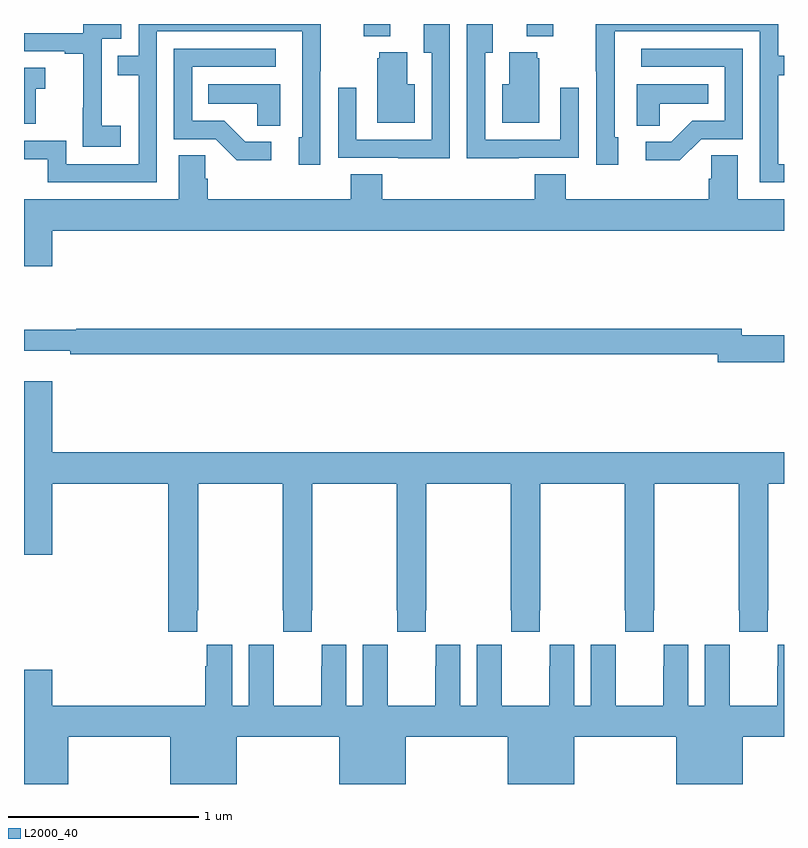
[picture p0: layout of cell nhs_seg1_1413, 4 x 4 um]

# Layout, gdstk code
import gdstk
lib = gdstk.Library(unit=1e-6, precision=1e-09)
def R(c, l, rs):  # rectangles x0, y0, x1, y1
    for r in rs: c.add(gdstk.rectangle(r[:2], r[2:], *l))
def P(c, l, *ps):  # polygons
    for p in ps: c.add(gdstk.Polygon(p, *l))
L2000_40 = (2000, 40)

nhs_seg1_1413 = lib.new_cell('nhs_seg1_1413')
R(nhs_seg1_1413, L2000_40, [(190.787,506.135,190.927,506.199), (191.645,506.135,191.785,506.199)])
P(nhs_seg1_1413, L2000_40, [(191.603,505.494),(191.919,505.494),(191.919,505.864),(191.823,505.864),(191.823,505.59),(191.427,505.59),(191.427,506.047),(191.467,506.047),(191.467,506.199),(191.331,506.199),(191.331,505.493),(191.603,505.493)],
  [(189.508,505.663),(189.41,505.663),(189.41,505.892),(189.408,505.892),(189.408,506.121),(189.513,506.121),(189.513,506.199),(189.312,506.199),(189.312,506.151),(189,506.151),(189,506.055),(189.215,506.055),(189.215,506.043),(189.311,506.043),(189.311,505.759),(189.31,505.759),(189.31,505.553),(189.508,505.553)],
  [(191.241,506.199),(191.105,506.199),(191.105,506.047),(191.145,506.047),(191.145,505.59),(190.749,505.59),(190.749,505.864),(190.653,505.864),(190.653,505.494),(190.969,505.494),(190.969,505.493),(191.241,505.493)],
  [(189.699,506.16),(190.464,506.16),(190.464,505.602),(190.445,505.602),(190.445,505.458),(190.56,505.458),(190.56,505.951),(190.563,505.951),(190.563,506.199),(189.603,506.199),(189.603,506.031),(189.493,506.031),(189.493,505.93),(189.603,505.93),(189.603,505.461),(189.222,505.461),(189.222,505.584),(189,505.584),(189,505.488),(189.125,505.488),(189.125,505.365),(189.699,505.365)],
  [(193,505.461),(192.969,505.461),(192.969,505.93),(193,505.93),(193,506.031),(192.969,506.031),(192.969,506.199),(192.01,506.199),(192.01,505.951),(192.012,505.951),(192.012,505.458),(192.127,505.458),(192.127,505.602),(192.108,505.602),(192.108,506.16),(192.873,506.16),(192.873,505.365),(193,505.365)],
  [(192.564,505.593),(192.783,505.593),(192.783,506.07),(192.249,506.07),(192.249,505.974),(192.687,505.974),(192.687,505.689),(192.518,505.689),(192.407,505.578),(192.273,505.578),(192.273,505.481),(192.451,505.481)],
  [(190.3,505.578),(190.165,505.578),(190.054,505.689),(189.885,505.689),(189.885,505.974),(190.324,505.974),(190.324,506.07),(189.789,506.07),(189.789,505.593),(190.008,505.593),(190.121,505.481),(190.3,505.481)],
  [(191.713,506.019),(191.702,506.019),(191.702,506.05),(191.555,506.05),(191.555,505.882),(191.516,505.882),(191.516,505.679),(191.713,505.679)],
  [(191.056,505.882),(191.017,505.882),(191.017,506.05),(190.871,506.05),(190.871,506.019),(190.859,506.019),(190.859,505.679),(191.056,505.679)],
  [(189.063,505.859),(189.112,505.859),(189.112,505.969),(189,505.969),(189,505.674),(189.063,505.674)],
  [(190.348,505.882),(189.97,505.882),(189.97,505.778),(190.227,505.778),(190.227,505.663),(190.348,505.663)],
  [(192.345,505.778),(192.602,505.778),(192.602,505.882),(192.224,505.882),(192.224,505.663),(192.345,505.663)],
  [(189.148,505.112),(193,505.112),(193,505.276),(192.757,505.276),(192.757,505.508),(192.618,505.508),(192.618,505.385),(192.605,505.385),(192.605,505.276),(191.852,505.276),(191.852,505.409),(191.687,505.409),(191.687,505.276),(190.886,505.276),(190.886,505.409),(190.721,505.409),(190.721,505.276),(189.968,505.276),(189.968,505.385),(189.954,505.385),(189.954,505.508),(189.815,505.508),(189.815,505.276),(189,505.276),(189,504.924),(189.148,504.924)],
  [(193,504.56),(192.778,504.56),(192.778,504.596),(189.274,504.596),(189.274,504.589),(189,504.589),(189,504.479),(189.244,504.479),(189.244,504.46),(192.65,504.46),(192.65,504.418),(193,504.418)],
  [(189.911,503.113),(189.918,503.113),(189.918,503.78),(190.363,503.78),(190.363,503.113),(190.365,503.113),(190.365,503.001),(190.515,503.001),(190.515,503.113),(190.518,503.113),(190.518,503.78),(190.963,503.78),(190.963,503.113),(190.965,503.113),(190.965,503.001),(191.115,503.001),(191.115,503.113),(191.118,503.113),(191.118,503.78),(191.563,503.78),(191.563,503.113),(191.565,503.113),(191.565,503.001),(191.715,503.001),(191.715,503.113),(191.718,503.113),(191.718,503.78),(192.163,503.78),(192.163,503.113),(192.165,503.113),(192.165,503.001),(192.315,503.001),(192.315,503.113),(192.318,503.113),(192.318,503.78),(192.763,503.78),(192.763,503.113),(192.765,503.113),(192.765,503.001),(192.915,503.001),(192.915,503.113),(192.918,503.113),(192.918,503.78),(193,503.78),(193,503.944),(189.148,503.944),(189.148,504.319),(189,504.319),(189,503.406),(189.148,503.406),(189.148,503.78),(189.758,503.78),(189.758,503.001),(189.911,503.001)],
  [(189.232,502.448),(189.77,502.448),(189.77,502.199),(190.12,502.199),(190.12,502.448),(190.658,502.448),(190.658,502.199),(191.008,502.199),(191.008,502.448),(191.546,502.448),(191.546,502.199),(191.896,502.199),(191.896,502.448),(192.434,502.448),(192.434,502.199),(192.784,502.199),(192.784,502.448),(193,502.448),(193,502.933),(192.966,502.933),(192.966,502.82),(192.965,502.82),(192.965,502.612),(192.715,502.612),(192.715,502.82),(192.714,502.82),(192.714,502.933),(192.584,502.933),(192.584,502.612),(192.496,502.612),(192.496,502.933),(192.366,502.933),(192.366,502.82),(192.365,502.82),(192.365,502.612),(192.115,502.612),(192.115,502.82),(192.114,502.82),(192.114,502.933),(191.984,502.933),(191.984,502.612),(191.896,502.612),(191.896,502.933),(191.766,502.933),(191.766,502.82),(191.765,502.82),(191.765,502.612),(191.515,502.612),(191.515,502.82),(191.514,502.82),(191.514,502.933),(191.384,502.933),(191.384,502.612),(191.296,502.612),(191.296,502.933),(191.166,502.933),(191.166,502.82),(191.165,502.82),(191.165,502.612),(190.915,502.612),(190.915,502.82),(190.914,502.82),(190.914,502.933),(190.784,502.933),(190.784,502.612),(190.696,502.612),(190.696,502.933),(190.566,502.933),(190.566,502.82),(190.565,502.82),(190.565,502.612),(190.315,502.612),(190.315,502.82),(190.314,502.82),(190.314,502.933),(190.184,502.933),(190.184,502.612),(190.096,502.612),(190.096,502.933),(189.962,502.933),(189.962,502.82),(189.953,502.82),(189.953,502.612),(189.148,502.612),(189.148,502.801),(189,502.801),(189,502.199),(189.232,502.199)])

lib.write_gds('nhs_seg1_1413.gds')
